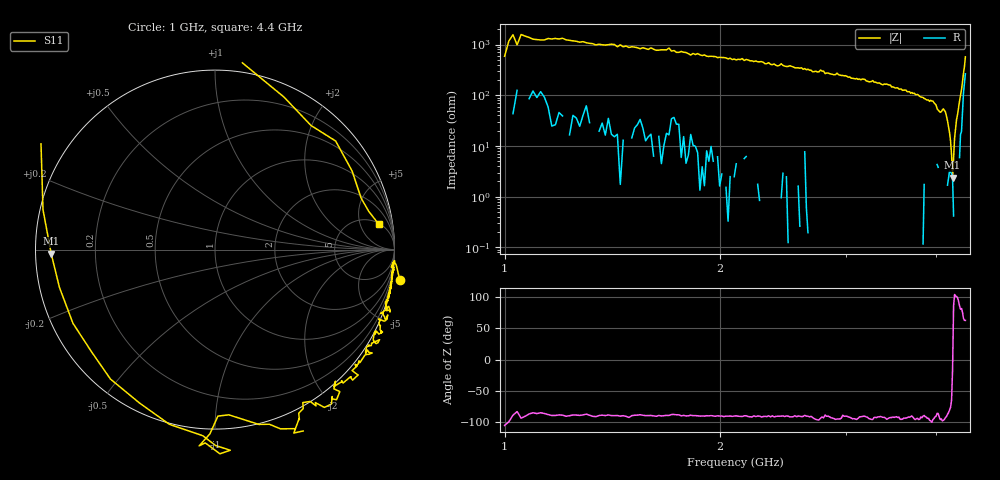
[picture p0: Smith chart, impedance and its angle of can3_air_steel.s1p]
# MHz S MA R 50
!  freq  S11
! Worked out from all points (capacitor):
!   250 points, 1 GHz to 4.4 GHz, reference 50 ohm
!   read as one part to ground: C = 102 fF near 1.014 GHz
!   lowest |Z| = 2.36 ohm at 4.222 GHz (marker M1)
!   series resonance near 4.224 GHz, so ESL is about 14 nH
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1000  1.044 -9.4
1027.309  0.9982 -3.7
1436.948  0.9979 -6.3
1860.241  0.9983 -8.6
2283.534  1.005 -12.3
2706.827  1.023 -19.3
3130.12  1.009 -26.8
3416.867  1.048 -33.3
3553.414  1.019 -41.4
3785.542  1.077 -53.0
3853.815  0.9826 -60.1
3949.398  1.169 -65.7
3976.707  1.063 -69.9
4031.325  0.9278 -89.0
4058.635  1.097 -94.6
4099.598  1.121 -85.6
4113.253  1.091 -89.8
4126.908  1.039 -93.7
4167.871  0.9271 -128.9
4222.49  0.9129 -178.6
4249.799  1.134 148.7
4263.454  1.162 132.3
4277.108  1.187 112.5
4290.763  1.159 100.3
4304.418  1.052 81.7
4331.727  0.874 52.3
4359.036  0.8806 29.8
4400  0.9231 8.8
